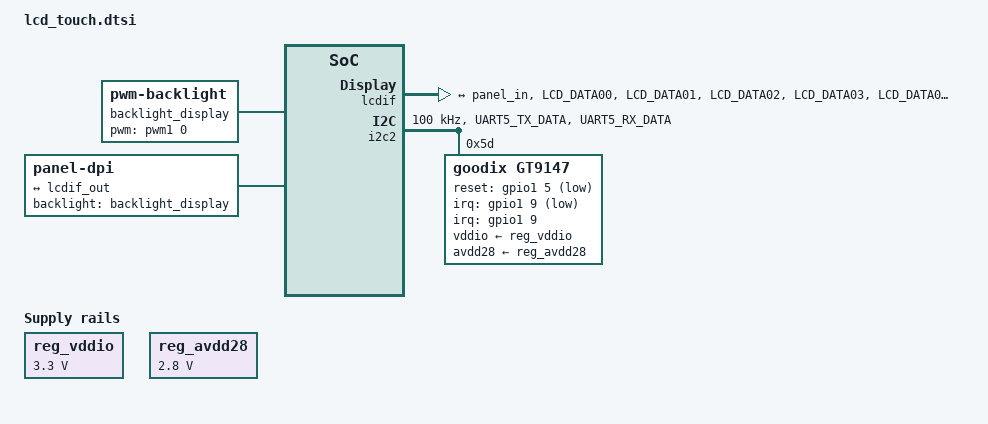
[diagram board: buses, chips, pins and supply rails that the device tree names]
/*
 * ============================================================================
 *  文件名称 : lcd_touch.dtsi
 *  功能描述 : 为 ATK i.MX6ULL 板（OpenWrt / Linux 5.15.148）补齐
 *             「7 寸 1024x600 RGB 屏 + GT9xx 电容触摸」所需的全部节点。
 *             加入它之后 /dev/fb0 与 /dev/input/eventX 才会出现，
 *             从而能跑 Qt5 前台。
 *
 *  引用依据 : 正点原子 alpha 板可用配置
 *             D:\project\imx-forge\driver\device_tree\alpha-board\linux\imx6ull-aes.dtsi
 *             以及教程 document/tutorial/kernel/07_dts_writing.md（GPIO1_IO09 争夺战）
 *             与 10_touch_gt9xx.md
 *
 *  使用方法 : 把本文件放到 project/dts/ 下，并在
 *             project/dts/imx6ull-atk-mmc.dts 的**最后一个 '};' 之后**
 *             追加一行：   #include "lcd_touch.dtsi"
 *             —— 必须放文件末尾：&label 覆盖要在被引用的根节点解析完之后。
 *
 *  修改日期 : 2026-10-15
 * ============================================================================
 */

/* ==========================================================================
 * 一、根节点下新增：背光 / 面板 / 触摸供电 / SD 供电修正
 * ========================================================================== */
/ {
	/* ---- 背光：PWM1_OUT（PAD_GPIO1_IO08）驱动，周期 5ms（200Hz） ----
	 * 注意 PAD_GPIO1_IO08 在本板原本没有任何复用配置，需要靠下面的
	 * pinctrl_pwm1 把它切到 PWM1_OUT 才有波形。 */
	backlight_display: backlight-display {
		compatible = "pwm-backlight";
		pwms = <&pwm1 0 5000000 0>;
		brightness-levels = <0 4 8 16 32 64 128 255>;
		default-brightness-level = <6>;
		status = "okay";
	};

	/* ---- 面板：用 panel-dpi，时序直接写在 DT 里，不依赖驱动内置面板表 ----
	 * 关键：panel 的 endpoint 必须与 &lcdif 的 endpoint 互为 remote-endpoint，
	 *       否则 DRM 拿不到 connector，/dev/fb0 永远不会出现。 */
	panel: panel-dpi {
		compatible = "panel-dpi";
		backlight = <&backlight_display>;

		width-mm = <154>;
		height-mm = <86>;

		panel-timing {
			clock-frequency = <51200000>;	/* 51.2MHz → 1024x600 约 60Hz */
			hactive = <1024>;
			vactive = <600>;
			hfront-porch = <160>;
			hback-porch = <140>;
			hsync-len = <20>;
			vback-porch = <20>;
			vfront-porch = <12>;
			vsync-len = <3>;
			hsync-active = <0>;
			vsync-active = <0>;
			de-active = <1>;
			pixelclk-active = <0>;
		};

		port {
			panel_in: endpoint {
				remote-endpoint = <&lcdif_out>;
			};
		};
	};

	/* ---- 触摸供电 ----
	 * goodix 驱动用 devm_regulator_get(dev, "AVDD28") / (dev, "VDDIO") 取电，
	 * 对应的 DT 属性名是 avdd28-supply / vddio-supply。缺了会让 probe 直接失败
	 * （-EPROBE_DEFER），板子上看不到任何 input 设备。
	 * 这两路电在本板是常供的，用无 GPIO 的 fixed regulator 描述即可。 */
	reg_vddio: regulator-vddio {
		compatible = "regulator-fixed";
		regulator-name = "VDDIO";
		regulator-min-microvolt = <3300000>;
		regulator-max-microvolt = <3300000>;
		regulator-always-on;
	};

	reg_avdd28: regulator-avdd28 {
		compatible = "regulator-fixed";
		regulator-name = "AVDD28";
		regulator-min-microvolt = <2800000>;
		regulator-max-microvolt = <2800000>;
		regulator-always-on;
	};

};

/* ==========================================================================
 * 一之二、★ SD 卡供电描述修正（重要，别跳过）
 *
 * 原板级 DTS（project/dts/imx6ull-atk-mmc.dts:49-57）抄自 EVK 参考板：
 *     reg_sd1_vmmc: regulator@1 {
 *         compatible = "regulator-fixed";
 *         regulator-name = "VSD_3V3";
 *         regulator-min-microvolt = <3300000>;
 *         regulator-max-microvolt = <3300000>;
 *         gpio = <&gpio1 9 GPIO_ACTIVE_HIGH>;   ← 争用 GPIO1_IO09
 *         off-on-delay = <20000>;
 *         enable-active-high;
 *     };
 * 也就是说 SD 卡电源使能被绑在 GPIO1_IO09 上。但本板这根脚实际接的是
 * GT9xx 的触摸中断 INT。两者都会 request_gpio，谁先 probe 谁赢，后到的报：
 *     Goodix-TS 1-005d: error -EBUSY: Failed to get irq GPIO
 * 或反过来 SD 初始化失败，取决于 probe 顺序。
 *
 * 解法（与正点原子 alpha 板一致）：承认与参考板的接线差异，把这个调节器
 * 退化成「固定常开 3.3V」——删掉三个和 GPIO 有关的属性，只留电压描述。
 * 用 /delete-property/ 而不是重新定义节点：重新定义会撞 label
 * （duplicate_label: /regulator@1 与 /regulators/regulator@1）。
 *
 * 覆盖后本板 SD 卡照常可用（U-Boot 已供电且不关断）。
 * ========================================================================== */
&reg_sd1_vmmc {
	/delete-property/ gpio;
	/delete-property/ enable-active-high;
	/delete-property/ off-on-delay;
	regulator-always-on;
};

/* ==========================================================================
 * 二、LCDIF：使能 + 指定父时钟 + 端口对接
 * ========================================================================== */
&lcdif {
	/* lcdif_pre_sel 的 6 个候选父时钟里第 3 个是 pll5_video_div
	 * （见 drivers/clk/imx/clk-imx6ul.c:45 的 lcdif_pre_sels[]）。
	 * 不显式指定父时钟就凑不出 51.2MHz 像素时钟，画面会花或干脆不出图。 */
	assigned-clocks = <&clks IMX6UL_CLK_LCDIF_PRE_SEL>;
	assigned-clock-parents = <&clks IMX6UL_CLK_PLL5_VIDEO_DIV>;
	pinctrl-names = "default";
	pinctrl-0 = <&pinctrl_lcdif_dat &pinctrl_lcdif_ctrl>;
	status = "okay";

	port {
		lcdif_out: endpoint {
			remote-endpoint = <&panel_in>;
		};
	};
};

/* ==========================================================================
 * 三、背光 PWM 控制器
 *
 * ★ 这里原本还写了 `&pwm1 { pinctrl-0 = <&pinctrl_pwm1>; status = "okay"; }`，
 *   属于冗余：板级 DTS `imx6ull-atk-mmc.dts:393-397` 已经把它使能并绑好
 *   引脚组了。重复写一遍只有坏处（改错一个字段就会静默覆盖板级配置），
 *   已删除。本文件只负责板级 DTS 里没有的东西。
 * ========================================================================== */

/* ==========================================================================
 * 四、I2C2 上的 GT9xx 电容触摸
 *
 * 属性名必须与 goodix.c 对齐（5.15 源码）：
 *   #define GOODIX_GPIO_INT_NAME "irq"    → 属性 irq-gpios
 *   #define GOODIX_GPIO_RST_NAME "reset"  → 属性 reset-gpios
 *   devm_regulator_get(dev, "VDDIO"/"AVDD28") → vddio-supply / avdd28-supply
 * 支持的 compatible 含 "goodix,gt9147"（goodix.c of_match 表内）。
 *
 * ★ I2C 地址口径（这一条写错触摸就永远不 probe，goodix 驱动不做地址扫描）：
 *   本板实测这颗 GT9147 挂在 **0x5d**（7 位地址）。
 *
 *   2026-10-15 在板子上用自编的 i2c_probe 扫 /dev/i2c-1 得到的确凿结果：
 *       0x5d: 有应答 (读到 0x00)
 *       0x14: No such device or address (-6 / -ENXIO)
 *   而此前写成 0x14 的依据是 imx-forge 的 `document/tutorial/kernel/10_touch_gt9xx.md`，
 *   那份文档描述的是另一块板子，**不能套到本板**。教训：地址这种硬事实只能上板实测，
 *   不能靠抄别人的文档 —— 当时也因此白烧了一版固件（dmesg 里
 *   `Goodix-TS 1-0014: i2c test failed attempt 1/2: -6` → `I2C communication failure: -6`）。
 *
 *   goodix.c 里 0x14 是**特殊值**，它决定复位序列中 INT 脚的电平
 *   （`goodix_reset_no_int_sync()`：`goodix_irq_direction_output(ts, ts->client->addr == 0x14)`，
 *    内核注释原文用 <- 写的是：HIGH 对应 0x28/0x29，LOW 对应 0xBA/0xBB。注意
 *    DTS 的块注释不能嵌套，所以这里不要写 C 风格的注释符号）：
 *       reg = <0x14> → INT 拉高，选 7 位地址 0x28/0x29
 *       reg = <0x5d> → INT 拉低，选 8 位 0xBA/0xBB（= 7 位 0x5d）
 *   ⇒ 两者必须配套。本板芯片落在 0x5d，所以 reg 写 0x5d，驱动复位时把 INT 拉低，
 *     与芯片实际状态一致；写成 0x14 会把 INT 拉高、且去探测一个不存在的地址。
 *
 *   资料里另一个写法 0xba 是含读写位的 8 位形式；QEMU 的 gt911 模型硬编码 0x5d 只是巧合。
 * ========================================================================== */
&i2c2 {
	clock-frequency = <100000>;
	pinctrl-names = "default";
	pinctrl-0 = <&pinctrl_i2c2>;
	status = "okay";

	gt9147: gt9147@5d {
		compatible = "goodix,gt9147", "goodix,gt9xx";
		reg = <0x5d>;				/* ★ 本板实测地址（i2c_probe 扫出来的） */
		pinctrl-names = "default";
		pinctrl-0 = <&pinctrl_tsc &pinctrl_tsc_reset>;
		interrupt-parent = <&gpio1>;
		interrupts = <9 0>;			/* INT = GPIO1_IO09 */
		reset-gpios = <&gpio1 5 GPIO_ACTIVE_LOW>;	/* RST = GPIO1_IO05 */
		irq-gpios = <&gpio1 9 GPIO_ACTIVE_LOW>;
		status = "okay";
		vddio-supply = <&reg_vddio>;
		avdd28-supply = <&reg_avdd28>;
	};
};

/* ==========================================================================
 * 五、iomuxc 引脚组
 *
 * 说明：这些 pinctrl 组只描述「pad 复用成什么功能」。同一根 pad 出现在两个组里
 *       并不会直接引发 -EBUSY —— pinctrl 层面不排他，最后生效的是后写入的那份配置
 *       （这正是 pwm1grp 那次踩坑的性质：同名节点属性被覆盖，而不是报错）。
 *       会引发 -EBUSY 的是 **gpio 资源的排他申请**，本工程里就是
 *       reg_sd1_vmmc 的 gpio 属性占了 GPIO1_IO09（已在第一节去掉）。
 * ========================================================================== */
&iomuxc {
	/* ---- ★ GPIO1_IO05 / GPIO1_IO09 的所有权修正 ----
	 * 原板级 DTS 的 pinctrl_hog_1（project/dts/imx6ull-atk-mmc.dts:172-178）里三条：
	 *     MX6UL_PAD_UART1_RTS_B__GPIO1_IO19    0x17059   <- SD1 CD（卡检测，必须留！）
	 *     MX6UL_PAD_GPIO1_IO05__USDHC1_VSELECT 0x17059   <- SD1 VSELECT（要删）
	 *     MX6UL_PAD_GPIO1_IO09__GPIO1_IO09     0x17059   <- SD1 RESET（要删）
	 * 后两条把 IO05/IO09 配成 SD 卡用途，正好和本板触摸的 RST/INT 撞车。
	 *
	 * ★ 这里**不能**用 `/delete-node/ hoggrp-1` —— 板级 dts 第 171 行
	 *   `pinctrl-0 = <&pinctrl_hog_1>;` 正引用着这个节点，删掉会让 iomuxc 的
	 *   default pinctrl 变成悬空引用，并且会连带丢掉 SD1 CD 那条、影响卡检测。
	 *   正确做法是**重定义 fsl,pins**、只留 SD1 CD 一条。
	 *
	 * ★ 也不能只写 `/delete-property/ fsl,pins;` 加一个**空的** fsl,pins 列表：
	 *   第一版就是这么写的，结果板子 dmesg 报
	 *   `imx6ul-pinctrl 20e0000.pinctrl: Invalid fsl,pins or pins property in
	 *    node /soc/bus@2000000/pinctrl@20e0000/hoggrp-1`
	 *   —— 空列表是非法属性，驱动照样会去解析并报错。
	 *
	 * IO09 的**所有权**冲突另有一处：板级 reg_sd1_vmmc 的 `gpio = <&gpio1 9 ...>`
	 * 会把 IO09 占成 SD 电源使能（真板上报过
	 * `pin MX6UL_PAD_GPIO1_IO09 already requested by 1-0014; cannot claim for 2040000.touchscreen`），
	 * 已在第一节用 `&reg_sd1_vmmc { /delete-property/ gpio; ... }` 释放。
	 *
	 * 注意 &usdhc1 里有 no-1-8-v，HS 模式本来就不需要 VSELECT，删掉无损。 */
	pinctrl_hog_1: hoggrp-1 {
		/delete-property/ fsl,pins;
		fsl,pins = <
			/* 只保留 SD1 CD；IO05 给触摸 RST、IO09 给触摸 INT */
			MX6UL_PAD_UART1_RTS_B__GPIO1_IO19	0x17059 /* SD1 CD */
		>;
	};

	pinctrl_lcdif_dat: lcdifdatgrp {
		fsl,pins = <
			MX6UL_PAD_LCD_DATA00__LCDIF_DATA00	0x79
			MX6UL_PAD_LCD_DATA01__LCDIF_DATA01	0x79
			MX6UL_PAD_LCD_DATA02__LCDIF_DATA02	0x79
			MX6UL_PAD_LCD_DATA03__LCDIF_DATA03	0x79
			MX6UL_PAD_LCD_DATA04__LCDIF_DATA04	0x79
			MX6UL_PAD_LCD_DATA05__LCDIF_DATA05	0x79
			MX6UL_PAD_LCD_DATA06__LCDIF_DATA06	0x79
			MX6UL_PAD_LCD_DATA07__LCDIF_DATA07	0x79
			MX6UL_PAD_LCD_DATA08__LCDIF_DATA08	0x79
			MX6UL_PAD_LCD_DATA09__LCDIF_DATA09	0x79
			MX6UL_PAD_LCD_DATA10__LCDIF_DATA10	0x79
			MX6UL_PAD_LCD_DATA11__LCDIF_DATA11	0x79
			MX6UL_PAD_LCD_DATA12__LCDIF_DATA12	0x79
			MX6UL_PAD_LCD_DATA13__LCDIF_DATA13	0x79
			MX6UL_PAD_LCD_DATA14__LCDIF_DATA14	0x79
			MX6UL_PAD_LCD_DATA15__LCDIF_DATA15	0x79
			MX6UL_PAD_LCD_DATA16__LCDIF_DATA16	0x79
			MX6UL_PAD_LCD_DATA17__LCDIF_DATA17	0x79
			MX6UL_PAD_LCD_DATA18__LCDIF_DATA18	0x79
			MX6UL_PAD_LCD_DATA19__LCDIF_DATA19	0x79
			MX6UL_PAD_LCD_DATA20__LCDIF_DATA20	0x79
			MX6UL_PAD_LCD_DATA21__LCDIF_DATA21	0x79
			MX6UL_PAD_LCD_DATA22__LCDIF_DATA22	0x79
			MX6UL_PAD_LCD_DATA23__LCDIF_DATA23	0x79
		>;
	};

	pinctrl_lcdif_ctrl: lcdifctrlgrp {
		fsl,pins = <
			MX6UL_PAD_LCD_CLK__LCDIF_CLK		0x79
			MX6UL_PAD_LCD_ENABLE__LCDIF_ENABLE	0x79
			MX6UL_PAD_LCD_HSYNC__LCDIF_HSYNC	0x79
			MX6UL_PAD_LCD_VSYNC__LCDIF_VSYNC	0x79
		>;
	};

	/* ---- 背光 PWM 的引脚组「不在本文件里定义」，这是有意的 ----
	 * 本板板级 DTS `imx6ull-atk-mmc.dts:220-224` 已经有：
	 *     pinctrl_pwm1: pwm1grp {
	 *         fsl,pins = <MX6UL_PAD_GPIO1_IO08__PWM1_OUT 0x110b0>;
	 *     };
	 * 与内核参考板 `imx6ul-14x14-evk.dtsi:539-543` 逐字节相同（0x110b0）。
	 * 早期本文件在这里又写了一遍同名节点 `pwm1grp` —— 同名节点在 DT 里是
	 * **属性覆盖**而不是合并，于是把 0x110b0（PDRV=R0/6）悄悄改成了
	 * 0x17059（PDRV=R0/2，弱得多），背光可能偏暗甚至不亮。
	 * 已删除。`&pwm1` 引用的仍是板级那一份，不要在这里重新定义。 */

	pinctrl_i2c2: i2c2grp {
		fsl,pins = <
			MX6UL_PAD_UART5_TX_DATA__I2C2_SCL	0x4001b8b0
			MX6UL_PAD_UART5_RX_DATA__I2C2_SDA	0x4001b8b0
		>;
	};

	/* TSC_INT：GPIO1_IO09，上拉输入 */
	pinctrl_tsc: tscgrp {
		fsl,pins = <
			MX6UL_PAD_GPIO1_IO09__GPIO1_IO09	0x79
		>;
	};

	/* TSC_RST：GPIO1_IO05，需要一定驱动力，用 0x10B0 */
	pinctrl_tsc_reset: tsc_reset {
		fsl,pins = <
			MX6UL_PAD_GPIO1_IO05__GPIO1_IO05	0x10B0
		>;
	};
};
